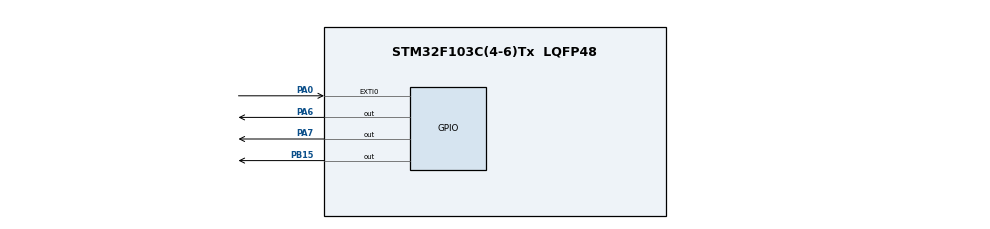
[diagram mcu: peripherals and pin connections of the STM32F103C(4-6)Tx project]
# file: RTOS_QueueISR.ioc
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FREERTOS.BinarySemaphores01=myBinarySem01,Dynamic,NULL
FREERTOS.Queues01=myQueue01,16,uint16_t,0,Dynamic,NULL,NULL
FREERTOS.Tasks01=Task_1,16,128,Task_one,Default,NULL,Dynamic,NULL,NULL;Task_2,16,128,Task_Two,Default,NULL,Dynamic,NULL,NULL
FREERTOS.configUSE_NEWLIB_REENTRANT=0
Mcu.Family=STM32F1
Mcu.Name=STM32F103C(4-6)Tx
Mcu.Package=LQFP48
NVIC.EXTI0_IRQn=true\:5\:0\:false\:false\:true\:true\:true\:true\:true
NVIC.PriorityGroup=NVIC_PRIORITYGROUP_4
NVIC.TIM2_IRQn=true\:15\:0\:false\:false\:true\:false\:false\:true\:true
NVIC.TimeBase=TIM2_IRQn
NVIC.TimeBaseIP=TIM2
PA0-WKUP.Signal=GPXTI0
PA13.Mode=Serial_Wire
PA13.Signal=SYS_JTMS-SWDIO
PA14.Mode=Serial_Wire
PA14.Signal=SYS_JTCK-SWCLK
PA6.Signal=GPIO_Output
PA7.Signal=GPIO_Output
PB15.Signal=GPIO_Output
PD0-OSC_IN.Mode=HSE-External-Oscillator
PD0-OSC_IN.Signal=RCC_OSC_IN
PD1-OSC_OUT.Mode=HSE-External-Oscillator
PD1-OSC_OUT.Signal=RCC_OSC_OUT
ProjectManager.HeapSize=0x200
ProjectManager.StackSize=0x400
ProjectManager.TargetToolchain=STM32CubeIDE
RCC.APB1Freq_Value=8000000
RCC.APB2Freq_Value=8000000
VP_FREERTOS_VS_CMSIS_V2.Mode=CMSIS_V2
VP_SYS_VS_tim2.Mode=TIM2
board=custom

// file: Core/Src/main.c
/* USER CODE BEGIN Header */
/**
  ******************************************************************************
  * @file           : main.c
  * @brief          : Main program body
  ******************************************************************************
  * @attention
  *
  * Copyright (c) 2023 STMicroelectronics.
  * All rights reserved.
  *
  * This software is licensed under terms that can be found in the LICENSE file
  * in the root directory of this software component.
  * If no LICENSE file comes with this software, it is provided AS-IS.
  *
  ******************************************************************************
  */
/* USER CODE END Header */
#include "main.h"
#include "cmsis_os.h"
#include "gpio.h"

/* USER CODE BEGIN Includes */

#include "queue.h"
#include <stdio.h>
/* USER CODE END Includes */

/* USER CODE BEGIN PD */
extern osMessageQueueId_t myQueue01Handle;
uint8_t counter_from_ISR;
void HAL_GPIO_EXTI_Callback(uint16_t GPIO_Pin){
	//initialization
	BaseType_t ret_val =0;

	if(xQueueIsQueueFullFromISR(myQueue01Handle) == pdFALSE){
	//Queue is not empty
		ret_val=xQueueSendToFrontFromISR(myQueue01Handle,&counter_from_ISR,NULL); //we don't use pxHigherPriorityTaskWoken
		counter_from_ISR++;
	  }
	else{
		printf("queue is full");
	}
}
/* USER CODE END PD */

void SystemClock_Config(void);
void MX_FREERTOS_Init(void);

int main(void)
{

  /* MCU Configuration--------------------------------------------------------*/

  /* Reset of all peripherals, Initializes the Flash interface and the Systick. */
  HAL_Init();

  /* Configure the system clock */
  SystemClock_Config();

  /* Initialize all configured peripherals */
  MX_GPIO_Init();

  /* Init scheduler */
  osKernelInitialize();  /* Call init function for freertos objects (in freertos.c) */
  MX_FREERTOS_Init();

  /* Start scheduler */
  osKernelStart();

  /* We should never get here as control is now taken by the scheduler */
  /* Infinite loop */
  while (1)
  {

  }
}

void SystemClock_Config(void)
{
  RCC_OscInitTypeDef RCC_OscInitStruct = {0};
  RCC_ClkInitTypeDef RCC_ClkInitStruct = {0};

  /** Initializes the RCC Oscillators according to the specified parameters
  * in the RCC_OscInitTypeDef structure.
  */
  RCC_OscInitStruct.OscillatorType = RCC_OSCILLATORTYPE_HSI;
  RCC_OscInitStruct.HSIState = RCC_HSI_ON;
  RCC_OscInitStruct.HSICalibrationValue = RCC_HSICALIBRATION_DEFAULT;
  RCC_OscInitStruct.PLL.PLLState = RCC_PLL_NONE;
  if (HAL_RCC_OscConfig(&RCC_OscInitStruct) != HAL_OK)
  {
    Error_Handler();
  }

  /** Initializes the CPU, AHB and APB buses clocks
  */
  RCC_ClkInitStruct.ClockType = RCC_CLOCKTYPE_HCLK|RCC_CLOCKTYPE_SYSCLK
                              |RCC_CLOCKTYPE_PCLK1|RCC_CLOCKTYPE_PCLK2;
  RCC_ClkInitStruct.SYSCLKSource = RCC_SYSCLKSOURCE_HSI;
  RCC_ClkInitStruct.AHBCLKDivider = RCC_SYSCLK_DIV1;
  RCC_ClkInitStruct.APB1CLKDivider = RCC_HCLK_DIV1;
  RCC_ClkInitStruct.APB2CLKDivider = RCC_HCLK_DIV1;

  if (HAL_RCC_ClockConfig(&RCC_ClkInitStruct, FLASH_LATENCY_0) != HAL_OK)
  {
    Error_Handler();
  }
}

void HAL_TIM_PeriodElapsedCallback(TIM_HandleTypeDef *htim)
{
  if (htim->Instance == TIM2) {
    HAL_IncTick();
  }
}

void Error_Handler(void)
{
  __disable_irq();
  while (1)
  {
  }
}

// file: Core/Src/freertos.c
/* USER CODE BEGIN Header */
/**
  ******************************************************************************
  * File Name          : freertos.c
  * Description        : Code for freertos applications
  ******************************************************************************
  * @attention
  *
  * Copyright (c) 2023 STMicroelectronics.
  * All rights reserved.
  *
  * This software is licensed under terms that can be found in the LICENSE file
  * in the root directory of this software component.
  * If no LICENSE file comes with this software, it is provided AS-IS.
  *
  ******************************************************************************
  */
/* USER CODE END Header */

#include "FreeRTOS.h"
#include "task.h"
#include "main.h"
#include "cmsis_os.h"

/* USER CODE BEGIN Includes */
#include <stdio.h>
#include "queue.h"
/* USER CODE END Includes */

/* Definitions for Task_1 */
osThreadId_t Task_1Handle;
const osThreadAttr_t Task_1_attributes = {
  .name = "Task_1",
  .stack_size = 128 * 4,
  .priority = (osPriority_t) osPriorityBelowNormal,
};
/* Definitions for Task_2 */
osThreadId_t Task_2Handle;
const osThreadAttr_t Task_2_attributes = {
  .name = "Task_2",
  .stack_size = 128 * 4,
  .priority = (osPriority_t) osPriorityBelowNormal,
};

/* Definitions for myQueue01 */
osMessageQueueId_t myQueue01Handle;
const osMessageQueueAttr_t myQueue01_attributes = {
  .name = "myQueue01"
};

/* Definitions for myBinarySem01 */
osSemaphoreId_t myBinarySem01Handle;
const osSemaphoreAttr_t myBinarySem01_attributes = {
  .name = "myBinarySem01"
};

void Task_one(void *argument);
void Task_Two(void *argument);

void MX_FREERTOS_Init(void); /* (MISRA C 2004 rule 8.1) */

void MX_FREERTOS_Init(void) {

  /* Create the semaphores(s) */
  /* creation of myBinarySem01 */
  myBinarySem01Handle = osSemaphoreNew(1, 1, &myBinarySem01_attributes);

  /* Create the queue(s) */
  /* creation of myQueue01 */
  myQueue01Handle = osMessageQueueNew (16, sizeof(uint16_t), &myQueue01_attributes);

  /* Create the thread(s) */
  /* creation of Task_1 */
  Task_1Handle = osThreadNew(Task_one, NULL, &Task_1_attributes);

  /* creation of Task_2 */
  Task_2Handle = osThreadNew(Task_Two, NULL, &Task_2_attributes);

}

/* USER CODE BEGIN Header_Task_one */
/**
  * @brief  Receiving function
  * @param  argument: Not used
  * @retval None
  */
/* USER CODE END Header_Task_one */
void Task_one(void *argument)
{
  /* USER CODE BEGIN Task_one */
	BaseType_t ret_val=0;
	uint8_t counter1=0;
  /* Infinite loop */
  for(;;)
  {
	  ret_val = xQueueReceive( myQueue01Handle,&counter1 , portMAX_DELAY); //wait until data avilable in the queue
	  if(pdTRUE !=ret_val){
		  printf("task received from ISR failed");
	  }
	  else{
		  printf("task received from ISR successfully");
	  }

  }
  /* USER CODE END Task_one */
}

void Task_Two(void *argument)
{
  /* USER CODE BEGIN Task_Two */
	uint8_t counter2;
  /* Infinite loop */
  for(;;)
  {
	  counter2++;
    osDelay(100);
  }
  /* USER CODE END Task_Two */
}
